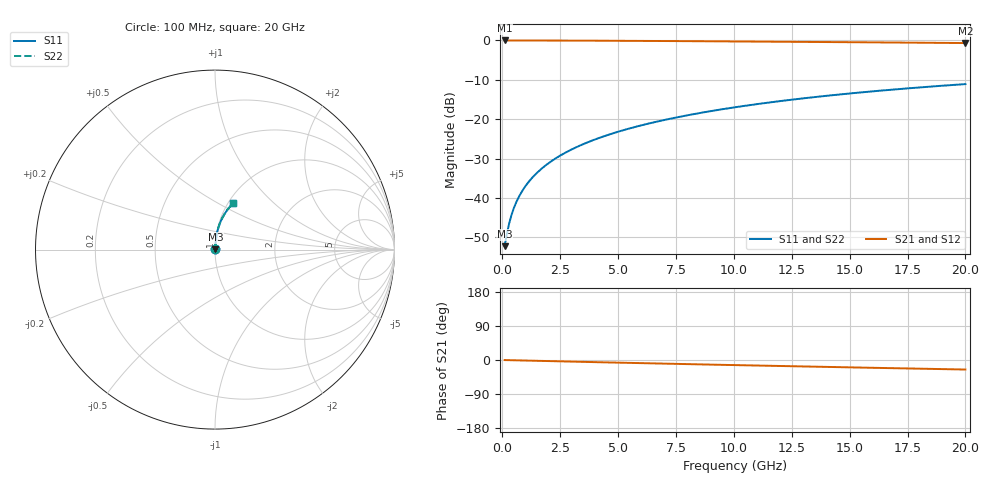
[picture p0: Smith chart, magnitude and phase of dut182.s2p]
! Touchstone file exported from HFSS 2024.1.0
!  File:  C:/UserFiles/LocalFiles/RDL_TSV_Batchsim/temp_RDL_top_182_1778686252.aedt
!  Generated:  11:33:07 PM May 13, 2026
!  Design:  RDL_top
!  Project:  temp_RDL_top_182_1778686252
!  Setup:  Setup1
!  Solution:  Sweep
! Variables:
!  dtsv = 10.80580581um
!  hbump = 3um
!  htsv = 63.73um
!  ldown = 100um
!  lrdl = 327.34um
!  p = 40
!  p1 = 44.63um
!  rhole = 1um
!  t = 450um
!  tdown = 3.915915916um
!  trdl = 3.95um
!  wdown = 15.38538539um
!  wrdl = 16.18um
# GHz S MA R 50.000000
! Terminal data exported
! Port[1] = Box2_T1
! Port[2] = Box2_T2
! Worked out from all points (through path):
!   200 points, 100 MHz to 20 GHz, reference 50 ohm
!   highest |S21| = -0.02 dB at 100 MHz (marker M1); lowest = -0.7 dB at 20 GHz (marker M2)
!   group delay of S21, straight-line fit = 3.47 ps
!   lowest |S11| = -52.2 dB at 100 MHz (marker M3), VSWR 1.00, Z = 50.2 + j0.147 ohm
!   |S11| at or under -10 dB: start of sweep to end of sweep
!   |S22| runs from -52.2 to -11.1 dB; largest |S21 - S12| = 2.7e-15
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0.1  0.002445 36.7  0.998 -0.1  0.998 -0.1  0.002445 36.7
! Gamma 0 0 0 0
! Port Impedance 50 0 50 0
0.2  0.00353 55.4  0.998 -0.3  0.998 -0.3  0.003531 55.4
0.3  0.004798 64.5  0.9979 -0.4  0.9979 -0.4  0.004798 64.5
0.4  0.006118 69.6  0.9978 -0.6  0.9978 -0.6  0.006118 69.6
0.5  0.007452 72.9  0.9977 -0.7  0.9977 -0.7  0.007451 72.9
0.6  0.008788 75.1  0.9976 -0.9  0.9976 -0.9  0.008787 75.1
0.8  0.01146 78.1  0.9975 -1.2  0.9975 -1.2  0.01146 78.0
1.1  0.01548 80.6  0.9972 -1.6  0.9972 -1.6  0.01548 80.6
1.5  0.02087 82.5  0.9968 -2.1  0.9968 -2.1  0.02087 82.5
1.8  0.02493 83.3  0.9964 -2.6  0.9964 -2.6  0.02493 83.3
2.1  0.02902 83.8  0.9959 -3.0  0.9959 -3.0  0.02902 83.8
2.7  0.03723 84.4  0.9948 -3.8  0.9948 -3.8  0.03724 84.4
3.5  0.04829 84.6  0.993 -4.9  0.993 -4.9  0.04829 84.6
4.2  0.05804 84.5  0.9911 -5.9  0.9911 -5.9  0.05804 84.5
5  0.06928 84.2  0.9887 -7.0  0.9887 -7.0  0.06928 84.2
5.9  0.08203 83.7  0.9858 -8.2  0.9858 -8.2  0.08203 83.7
6.8  0.09488 83.0  0.9826 -9.4  0.9826 -9.4  0.09488 83.0
8.3  0.1164 81.7  0.9769 -11.3  0.9769 -11.3  0.1164 81.7
10.1  0.1424 79.9  0.9697 -13.5  0.9697 -13.5  0.1424 79.9
13.4  0.1895 76.3  0.9557 -17.5  0.9557 -17.5  0.1896 76.3
16.7  0.2352 72.4  0.9409 -21.4  0.9409 -21.4  0.2353 72.4
20  0.2788 68.5  0.9253 -25.1  0.9253 -25.1  0.2788 68.5
